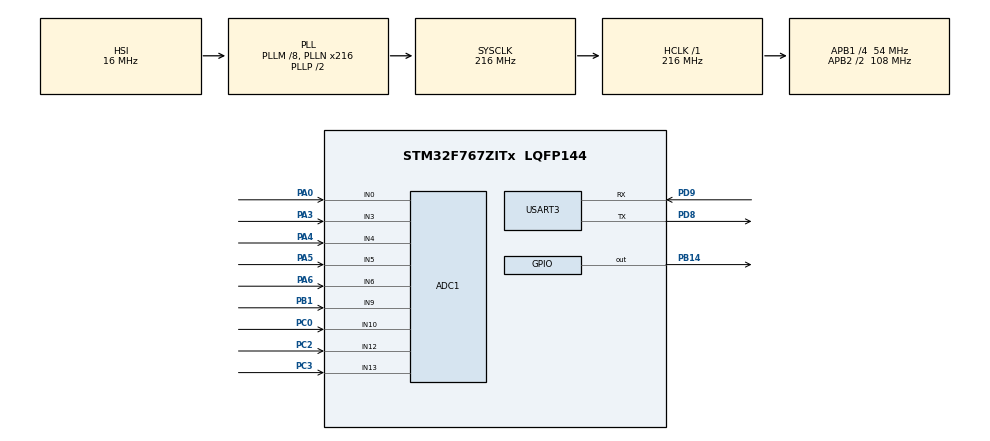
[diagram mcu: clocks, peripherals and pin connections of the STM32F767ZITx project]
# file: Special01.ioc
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ADC1.Channel-1\#ChannelRegularConversion=ADC_CHANNEL_0
ADC1.Channel-2\#ChannelRegularConversion=ADC_CHANNEL_3
ADC1.Channel-3\#ChannelRegularConversion=ADC_CHANNEL_4
ADC1.Channel-4\#ChannelRegularConversion=ADC_CHANNEL_6
ADC1.Channel-5\#ChannelRegularConversion=ADC_CHANNEL_9
ADC1.Channel-6\#ChannelRegularConversion=ADC_CHANNEL_10
ADC1.Channel-7\#ChannelRegularConversion=ADC_CHANNEL_12
ADC1.Channel-8\#ChannelRegularConversion=ADC_CHANNEL_13
ADC1.ClockPrescaler=ADC_CLOCK_SYNC_PCLK_DIV8
ADC1.ContinuousConvMode=ENABLE
ADC1.DMAContinuousRequests=ENABLE
ADC1.EOCSelection=ADC_EOC_SINGLE_CONV
ADC1.NbrOfConversion=8
ADC1.NbrOfConversionFlag=1
ADC1.Rank-2\#ChannelRegularConversion=2
ADC1.Rank-3\#ChannelRegularConversion=3
ADC1.Rank-4\#ChannelRegularConversion=4
ADC1.Rank-5\#ChannelRegularConversion=5
ADC1.Rank-6\#ChannelRegularConversion=6
ADC1.Rank-7\#ChannelRegularConversion=7
ADC1.Rank-8\#ChannelRegularConversion=8
ADC1.SamplingTime-1\#ChannelRegularConversion=ADC_SAMPLETIME_15CYCLES
ADC1.SamplingTime-2\#ChannelRegularConversion=ADC_SAMPLETIME_15CYCLES
ADC1.SamplingTime-3\#ChannelRegularConversion=ADC_SAMPLETIME_15CYCLES
ADC1.SamplingTime-4\#ChannelRegularConversion=ADC_SAMPLETIME_15CYCLES
ADC1.SamplingTime-5\#ChannelRegularConversion=ADC_SAMPLETIME_15CYCLES
ADC1.SamplingTime-6\#ChannelRegularConversion=ADC_SAMPLETIME_15CYCLES
ADC1.SamplingTime-7\#ChannelRegularConversion=ADC_SAMPLETIME_15CYCLES
ADC1.SamplingTime-8\#ChannelRegularConversion=ADC_SAMPLETIME_15CYCLES
ADC1.ScanConvMode=ADC_SCAN_ENABLE
ADC1.master=1
CORTEX_M7.default_mode_Activation=1
Dma.ADC1.0.Direction=DMA_PERIPH_TO_MEMORY
Dma.ADC1.0.FIFOMode=DMA_FIFOMODE_DISABLE
Dma.ADC1.0.Instance=DMA2_Stream0
Dma.ADC1.0.MemDataAlignment=DMA_MDATAALIGN_WORD
Dma.ADC1.0.MemInc=DMA_MINC_ENABLE
Dma.ADC1.0.Mode=DMA_CIRCULAR
Dma.ADC1.0.PeriphDataAlignment=DMA_PDATAALIGN_WORD
Dma.ADC1.0.PeriphInc=DMA_PINC_DISABLE
Dma.ADC1.0.Priority=DMA_PRIORITY_LOW
Dma.Request0=ADC1
Mcu.Family=STM32F7
Mcu.Name=STM32F767ZITx
Mcu.Package=LQFP144
NVIC.DMA2_Stream0_IRQn=true\:1\:0\:true\:false\:true\:false\:true\:true
NVIC.PriorityGroup=NVIC_PRIORITYGROUP_2
PA0/WKUP.Signal=ADCx_IN0
PA3.Signal=ADCx_IN3
PA4.Signal=ADCx_IN4
PA5.Signal=ADCx_IN5
PA6.Signal=ADCx_IN6
PB1.Signal=ADCx_IN9
PB14.Signal=GPIO_Output
PC0.Signal=ADCx_IN10
PC2.Signal=ADCx_IN12
PC3.Signal=ADCx_IN13
PD8.Mode=Asynchronous
PD8.Signal=USART3_TX
PD9.Mode=Asynchronous
PD9.Signal=USART3_RX
ProjectManager.HeapSize=0x200
ProjectManager.StackSize=0x400
ProjectManager.TargetToolchain=STM32CubeIDE
RCC.AHBFreq_Value=216000000
RCC.APB1CLKDivider=RCC_HCLK_DIV4
RCC.APB1Freq_Value=54000000
RCC.APB1TimFreq_Value=108000000
RCC.APB2CLKDivider=RCC_HCLK_DIV2
RCC.APB2Freq_Value=108000000
RCC.APB2TimFreq_Value=216000000
RCC.CortexFreq_Value=216000000
RCC.HCLKFreq_Value=216000000
RCC.HSE_VALUE=25000000
RCC.HSI_VALUE=16000000
RCC.LSE_VALUE=32768
RCC.PLLM=8
RCC.PLLN=216
RCC.SYSCLKFreq_VALUE=216000000
RCC.SYSCLKSource=RCC_SYSCLKSOURCE_PLLCLK
RCC.USBFreq_Value=216000000
RCC.VCOOutputFreq_Value=432000000
SH.ADCx_IN0.0=ADC1_IN0,IN0
SH.ADCx_IN10.0=ADC1_IN10,IN10
SH.ADCx_IN12.0=ADC1_IN12,IN12
SH.ADCx_IN13.0=ADC1_IN13,IN13
SH.ADCx_IN3.0=ADC1_IN3,IN3
SH.ADCx_IN4.0=ADC1_IN4,IN4
SH.ADCx_IN5.0=ADC1_IN5,IN5
SH.ADCx_IN6.0=ADC1_IN6,IN6
SH.ADCx_IN9.0=ADC1_IN9,IN9
USART3.VirtualMode-Asynchronous=VM_ASYNC
board=custom

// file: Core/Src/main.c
/* USER CODE BEGIN Header */
/**
  ******************************************************************************
  * @file           : main.c
  * @brief          : Main program body
  ******************************************************************************
  * @attention
  *
  * Copyright (c) 2025 STMicroelectronics.
  * All rights reserved.
  *
  * This software is licensed under terms that can be found in the LICENSE file
  * in the root directory of this software component.
  * If no LICENSE file comes with this software, it is provided AS-IS.
  *
  ******************************************************************************
  */
/* USER CODE END Header */
#include "main.h"
#include "adc.h"
#include "dma.h"
#include "usart.h"
#include "gpio.h"

/* USER CODE BEGIN PV */
volatile uint32_t adc_buffer[8];
static const int channel_map[] = {
	0, 3, 4, 6,
	9, 10, 12, 13
};

/* USER CODE END PV */

void SystemClock_Config(void);
static void MPU_Config(void);
/* USER CODE BEGIN PFP */

void convertToHex(int ch_index, char *msg){
    char temp_str[50];
    sprintf(temp_str, "ADC1_CH%-2d 0x%08lX ", channel_map[ch_index], adc_buffer[ch_index]);
    strcat(msg, temp_str);
//    HAL_UART_Transmit(&huart3, (uint8_t*)hex_num, len, 1000);
}

void convertToVolt(int ch_index, char *msg){
	char temp_str[20];

	uint32_t num = (adc_buffer[ch_index] * 330) / 4095;
	uint32_t num1 = num / 100;
	uint32_t num2  = num % 100;

	sprintf(temp_str, "Vin = %lu.%02lu V", num1, num2);
	strcat(msg, temp_str);
}

void displayFirstHalfVolts() {
    char msg[500];
    msg[0] = '\0';

    for (int i = 0; i < 4; i++){
    	convertToHex(i, msg);
    	convertToVolt(i, msg);
    	strcat(msg, "\r\n");
    }
    strcat(msg, "\n");
    HAL_UART_Transmit(&huart3, (uint8_t*)msg, strlen(msg), 100);
}

void displaySecondHalfVolts() {
    char msg[500];
    msg[0] = '\0';

    for (int i = 4; i < 8; i++){
    	convertToHex(i, msg);
    	convertToVolt(i, msg);
    	strcat(msg, "\r\n");
    }
    strcat(msg, "--------------------------------------------\n\r");
    HAL_UART_Transmit(&huart3, (uint8_t*)msg, strlen(msg), 100);
}

void HAL_ADC_ConvHalfCpltCallback(ADC_HandleTypeDef* hadc) {
    HAL_GPIO_WritePin(GPIOB, GPIO_PIN_14, GPIO_PIN_SET);
    displayFirstHalfVolts();
    HAL_Delay(500);
}

void HAL_ADC_ConvCpltCallback(ADC_HandleTypeDef* hadc) {
    HAL_GPIO_WritePin(GPIOB, GPIO_PIN_14, GPIO_PIN_RESET);
    displaySecondHalfVolts();
    HAL_Delay(500);

}
/* USER CODE END PFP */

int main(void)
{

  /* MPU Configuration--------------------------------------------------------*/
  MPU_Config();

  /* MCU Configuration--------------------------------------------------------*/

  /* Reset of all peripherals, Initializes the Flash interface and the Systick. */
  HAL_Init();

  /* Configure the system clock */
  SystemClock_Config();

  /* Initialize all configured peripherals */
  MX_GPIO_Init();
  MX_DMA_Init();
  MX_ADC1_Init();
  MX_USART3_UART_Init();
  /* USER CODE BEGIN 2 */
  HAL_ADC_Start_DMA(&hadc1, (uint32_t*)adc_buffer, 8);
  /* USER CODE END 2 */

  /* Infinite loop */
  while (1)
  {

  }
}

void SystemClock_Config(void)
{
  RCC_OscInitTypeDef RCC_OscInitStruct = {0};
  RCC_ClkInitTypeDef RCC_ClkInitStruct = {0};

  /** Configure the main internal regulator output voltage
  */
  __HAL_RCC_PWR_CLK_ENABLE();
  __HAL_PWR_VOLTAGESCALING_CONFIG(PWR_REGULATOR_VOLTAGE_SCALE1);

  /** Initializes the RCC Oscillators according to the specified parameters
  * in the RCC_OscInitTypeDef structure.
  */
  RCC_OscInitStruct.OscillatorType = RCC_OSCILLATORTYPE_HSI;
  RCC_OscInitStruct.HSIState = RCC_HSI_ON;
  RCC_OscInitStruct.HSICalibrationValue = RCC_HSICALIBRATION_DEFAULT;
  RCC_OscInitStruct.PLL.PLLState = RCC_PLL_ON;
  RCC_OscInitStruct.PLL.PLLSource = RCC_PLLSOURCE_HSI;
  RCC_OscInitStruct.PLL.PLLM = 8;
  RCC_OscInitStruct.PLL.PLLN = 216;
  RCC_OscInitStruct.PLL.PLLP = RCC_PLLP_DIV2;
  RCC_OscInitStruct.PLL.PLLQ = 2;
  RCC_OscInitStruct.PLL.PLLR = 2;
  if (HAL_RCC_OscConfig(&RCC_OscInitStruct) != HAL_OK)
  {
    Error_Handler();
  }

  /** Activate the Over-Drive mode
  */
  if (HAL_PWREx_EnableOverDrive() != HAL_OK)
  {
    Error_Handler();
  }

  /** Initializes the CPU, AHB and APB buses clocks
  */
  RCC_ClkInitStruct.ClockType = RCC_CLOCKTYPE_HCLK|RCC_CLOCKTYPE_SYSCLK
                              |RCC_CLOCKTYPE_PCLK1|RCC_CLOCKTYPE_PCLK2;
  RCC_ClkInitStruct.SYSCLKSource = RCC_SYSCLKSOURCE_PLLCLK;
  RCC_ClkInitStruct.AHBCLKDivider = RCC_SYSCLK_DIV1;
  RCC_ClkInitStruct.APB1CLKDivider = RCC_HCLK_DIV4;
  RCC_ClkInitStruct.APB2CLKDivider = RCC_HCLK_DIV2;

  if (HAL_RCC_ClockConfig(&RCC_ClkInitStruct, FLASH_LATENCY_7) != HAL_OK)
  {
    Error_Handler();
  }
}

 /* MPU Configuration */

void MPU_Config(void)
{
  MPU_Region_InitTypeDef MPU_InitStruct = {0};

  /* Disables the MPU */
  HAL_MPU_Disable();

  /** Initializes and configures the Region and the memory to be protected
  */
  MPU_InitStruct.Enable = MPU_REGION_ENABLE;
  MPU_InitStruct.Number = MPU_REGION_NUMBER0;
  MPU_InitStruct.BaseAddress = 0x0;
  MPU_InitStruct.Size = MPU_REGION_SIZE_4GB;
  MPU_InitStruct.SubRegionDisable = 0x87;
  MPU_InitStruct.TypeExtField = MPU_TEX_LEVEL0;
  MPU_InitStruct.AccessPermission = MPU_REGION_NO_ACCESS;
  MPU_InitStruct.DisableExec = MPU_INSTRUCTION_ACCESS_DISABLE;
  MPU_InitStruct.IsShareable = MPU_ACCESS_SHAREABLE;
  MPU_InitStruct.IsCacheable = MPU_ACCESS_NOT_CACHEABLE;
  MPU_InitStruct.IsBufferable = MPU_ACCESS_NOT_BUFFERABLE;

  HAL_MPU_ConfigRegion(&MPU_InitStruct);
  /* Enables the MPU */
  HAL_MPU_Enable(MPU_PRIVILEGED_DEFAULT);

}

void Error_Handler(void)
{
  __disable_irq();
  while (1)
  {
  }
}
